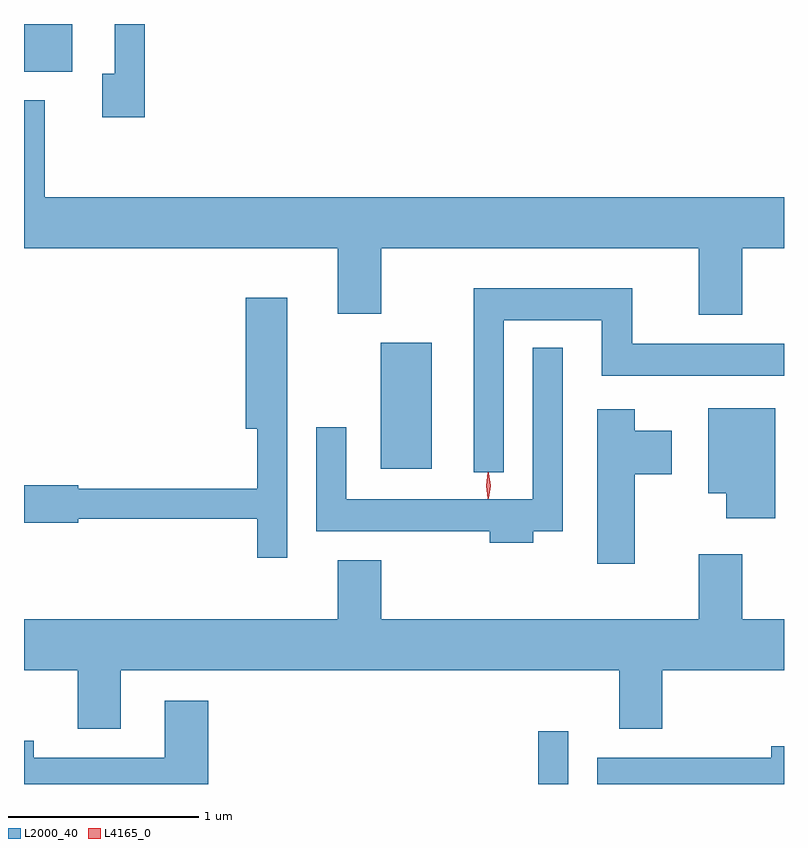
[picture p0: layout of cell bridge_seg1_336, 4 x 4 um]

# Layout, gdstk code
import gdstk
lib = gdstk.Library(unit=1e-6, precision=1e-09)
def R(c, l, rs):  # rectangles x0, y0, x1, y1
    for r in rs: c.add(gdstk.rectangle(r[:2], r[2:], *l))
def P(c, l, *ps):  # polygons
    for p in ps: c.add(gdstk.Polygon(p, *l))
L2000_40 = (2000, 40)
L4165_0 = (4165, 0)

bridge_seg1_336 = lib.new_cell('bridge_seg1_336')
R(bridge_seg1_336, L2000_40, [(926.496,881.216,926.654,881.493), (925.666,882.876,925.934,883.539), (923.789,884.966,924.044,885.216)])
P(bridge_seg1_336, L2000_40, [(924.424,885.216),(924.266,885.216),(924.266,884.954),(924.201,884.954),(924.201,884.726),(924.424,884.726)],
  [(927.569,884.036),(927.789,884.036),(927.789,884.304),(923.899,884.304),(923.899,884.814),(923.789,884.814),(923.789,884.036),(925.441,884.036),(925.441,883.691),(925.669,883.691),(925.669,884.036),(927.341,884.036),(927.341,883.686),(927.569,883.686)],
  [(926.314,883.656),(926.831,883.656),(926.831,883.366),(927.789,883.366),(927.789,883.534),(926.989,883.534),(926.989,883.824),(926.156,883.824),(926.156,882.858),(926.314,882.858)],
  [(925.174,883.774),(924.956,883.774),(924.956,883.086),(925.016,883.086),(925.016,882.769),(924.074,882.769),(924.074,882.789),(923.789,882.789),(923.789,882.591),(924.074,882.591),(924.074,882.611),(925.016,882.611),(925.016,882.408),(925.174,882.408)],
  [(926.469,882.546),(926.624,882.546),(926.624,883.513),(926.466,883.513),(926.466,882.714),(925.484,882.714),(925.484,883.093),(925.326,883.093),(925.326,882.546),(926.241,882.546),(926.241,882.486),(926.469,882.486)],
  [(927.744,883.194),(927.391,883.194),(927.391,882.746),(927.486,882.746),(927.486,882.616),(927.744,882.616)],
  [(927.004,882.846),(927.199,882.846),(927.199,883.074),(927.004,883.074),(927.004,883.189),(926.806,883.189),(926.806,882.376),(927.004,882.376)],
  [(924.299,881.816),(926.921,881.816),(926.921,881.506),(927.149,881.506),(927.149,881.816),(927.789,881.816),(927.789,882.084),(927.569,882.084),(927.569,882.424),(927.341,882.424),(927.341,882.084),(925.669,882.084),(925.669,882.394),(925.441,882.394),(925.441,882.084),(923.789,882.084),(923.789,881.816),(924.071,881.816),(924.071,881.506),(924.299,881.506)],
  [(924.759,881.654),(924.531,881.654),(924.531,881.354),(923.839,881.354),(923.839,881.444),(923.789,881.444),(923.789,881.216),(924.759,881.216)],
  [(927.789,881.414),(927.721,881.414),(927.721,881.354),(926.806,881.354),(926.806,881.216),(927.789,881.216)])
P(bridge_seg1_336, L4165_0, [(926.235,882.719),(926.234,882.72),(926.225,882.786),(926.234,882.852),(926.235,882.853),(926.235,882.852),(926.245,882.786),(926.235,882.72)],
  [(926.231,882.717),(926.222,882.787),(926.231,882.856),(926.232,882.856),(926.232,882.856),(926.242,882.787),(926.232,882.717),(926.232,882.717)])

lib.write_gds('bridge_seg1_336.gds')
